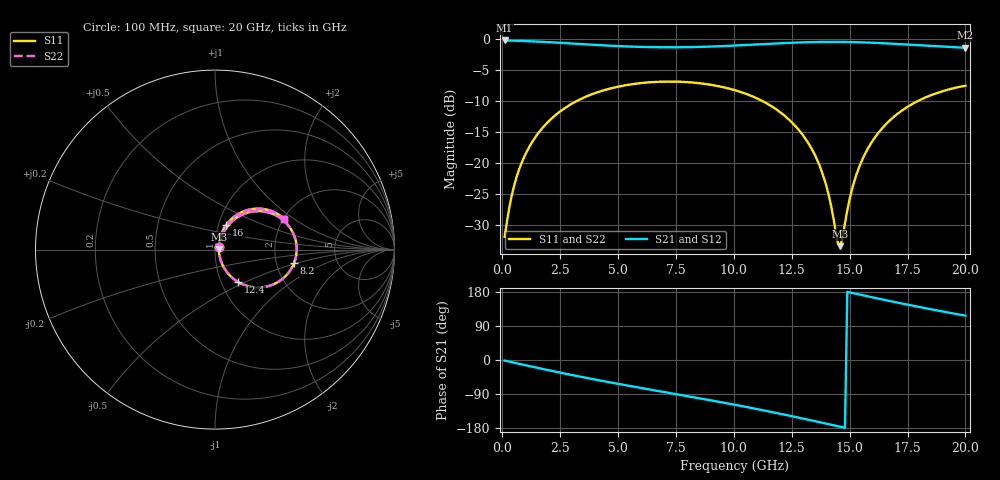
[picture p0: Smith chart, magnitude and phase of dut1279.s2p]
! Touchstone file exported from HFSS 2026.1.0
!  File:  C:/ffzhzh/LocalFiles/Ansys_Project_Files/temp_train_TSV_RDL_1279_1783330172_38820.aedt
!  Generated:  05:39:37 PM Jul  6, 2026
!  Design:  TSV_RDL
!  Project:  temp_train_TSV_RDL_1279_1783330172_38820
! Variables:
!  h_bsmrdl = 2.25um
!  h_ox = 20um
!  h_rdl = 5um
!  h_sub = 92.63um
!  h_tmrdl = 5.16um
!  h_tsv = 92.63um
!  h_via = 3um
!  l_bsmrdl = 509.21um
!  l_sub = 3817.43um
!  l_tmrdl = 446.41um
!  m_sub = 200um
!  pitch = 39.94um
!  r_tsv = 10.11um
!  s_tmrdl = 10um
!  w_bsmrdl = 17.19um
!  w_sub = 500um
!  w_tmrdl = 17.53um
!  x_tsv_center1 = 455.175um
!  x_tsv_center2 = 981.575um
!  x_tsv_center3 = 1445.515um
!  x_tsv_center4 = 1971.915um
!  x_tsv_center5 = 2435.855um
!  x_tsv_center6 = 2962.255um
# GHz S MA R 50.000000
! Terminal data exported
! Port[1] = TM_RDL1_1_T1
! Port[2] = TM_RDL5_1_T1
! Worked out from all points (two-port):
!   200 points, 100 MHz to 20 GHz, reference 50 ohm
!   highest |S21| = -0.19 dB at 100 MHz (marker M1); lowest = -1.4 dB at 20 GHz (marker M2)
!   |S21| within 3 dB of the highest: start of sweep to end of sweep
!   lowest |S11| = -33.5 dB at 14.6 GHz (marker M3), VSWR 1.04, Z = 52.1 + j0.419 ohm
!   |S11| at or under -10 dB: start of sweep to 3.209 GHz; 11.24 GHz to 17.94 GHz (6.702 GHz wide, 45.9 % of centre)
!   |S22| runs from -33.3 to -6.8 dB; largest |S21 - S12| = 3.6e-14
!   S11 on the Smith chart (normalised r, x): 100 MHz: 1.05, +0.03; 8.2 GHz: 2.52, -0.46; 12.4 GHz: 1.20, -0.46; 16 GHz: 1.09, +0.31; 20 GHz: 2.01, +0.84
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0.1  0.02527 28.4  0.978 -1.4  0.978 -1.4  0.02527 28.4
! Gamma 0 0 0 0
! Port Impedance 50 0 50 0
0.5  0.06429 60.8  0.9739 -7.0  0.9739 -7.0  0.0643 60.8
0.8  0.09642 63.5  0.97 -11.1  0.97 -11.1  0.09642 63.5
1.2  0.1384 62.3  0.9637 -16.5  0.9637 -16.5  0.1384 62.3
2.2  0.2351 53.5  0.9434 -29.5  0.9434 -29.5  0.2351 53.5
3.5  0.3362 39.5  0.9122 -45.6  0.9122 -45.6  0.3361 39.5
5.1  0.4172 22.4  0.8791 -64.0  0.8791 -64.0  0.4172 22.4
6.8  0.4535 4.8  0.8619 -82.5  0.8619 -82.5  0.4535 4.8
8.2  0.4471 -9.5  0.8647 -97.6  0.8647 -97.6  0.4471 -9.5
10.1  0.3848 -29.5  0.8905 -118.8  0.8905 -118.8  0.3848 -29.5
11.4  0.3045 -43.7  0.9165 -134.3  0.9165 -134.3  0.3045 -43.7
12.4  0.2224 -54.5  0.9355 -146.9  0.9355 -146.9  0.2224 -54.4
13.4  0.1261 -63.1  0.9488 -160.1  0.9488 -160.1  0.126 -62.9
14  0.06474 -61.6  0.9525 -168.1  0.9525 -168.1  0.06476 -61.3
14.5  0.02223 -16.5  0.9527 -174.9  0.9527 -174.9  0.02253 -16.0
14.6  0.02124 10.9  0.9524 -176.2  0.9524 -176.2  0.0216 11.0
15.2  0.07098 66.7  0.9483 175.7  0.9483 175.7  0.07119 66.4
15.6  0.1117 67.8  0.9436 170.4  0.9436 170.4  0.1119 67.6
16  0.1517 65.6  0.9374 165.1  0.9374 165.1  0.1519 65.4
16.7  0.2176 59.2  0.9238 156.0  0.9238 156.0  0.2177 59.1
18.1  0.3271 44.3  0.8915 138.7  0.8915 138.7  0.3273 44.2
20  0.4211 24.2  0.8535 117.0  0.8535 117.0  0.4212 24.2
